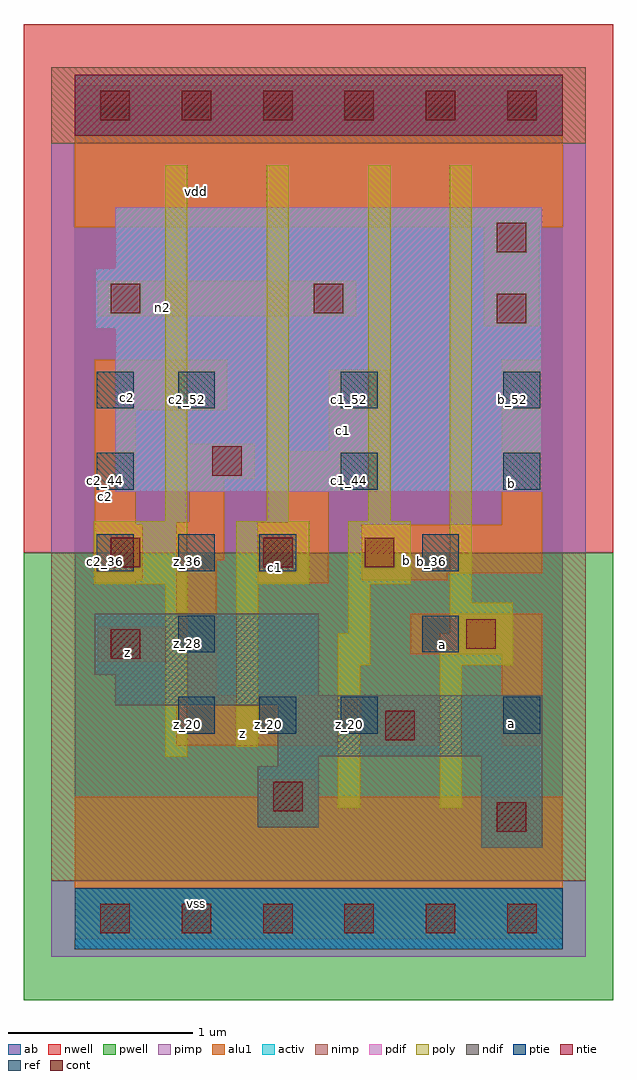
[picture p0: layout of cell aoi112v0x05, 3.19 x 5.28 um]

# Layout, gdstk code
import gdstk
lib = gdstk.Library(unit=1e-6, precision=2.5e-09)
def R(c, l, rs):  # rectangles x0, y0, x1, y1
    for r in rs: c.add(gdstk.rectangle(r[:2], r[2:], *l))
def A(c, l, x, y, w, h, nx, ny, dx, dy):  # array of equal rectangles
    R(c, l, [(x+i*dx, y+j*dy, x+i*dx+w, y+j*dy+h) for i in range(nx) for j in range(ny)])
ndif = (3, 0)
pdif = (4, 0)
ntie = (5, 0)
ptie = (6, 0)
ref = (24, 0)
cont = (25, 0)
pwell = (41, 0)
nwell = (42, 0)
activ = (43, 0)
pimp = (44, 0)
nimp = (45, 0)
poly = (46, 0)
alu1 = (49, 0)
ab = (63, 0)

aoi112v0x05 = lib.new_cell('aoi112v0x05')
R(aoi112v0x05, ndif, [(2.2,0.385,2.53,0.88), (0.99,0.495,1.32,0.825), (1.1,0.825,1.32,0.88), (1.1,0.88,2.53,1.155), (0.22,1.155,2.53,1.21), (0.22,1.21,1.32,1.32), (0.11,1.32,1.32,1.65)])
R(aoi112v0x05, pdif, [(0.22,2.31,2.53,3.19), (0.11,3.19,2.53,3.52), (0.22,3.52,2.53,3.85)])
R(aoi112v0x05, ntie, [(0,4.235,2.64,4.565)])
R(aoi112v0x05, ptie, [(0,-0.165,2.64,0.165)])
A(aoi112v0x05, ref, 0.56, 1, 0.2, 0.2, 3, 1, 0.44, 0)
A(aoi112v0x05, ref, 0.12, 1.88, 0.2, 0.2, 3, 1, 0.44, 0)
A(aoi112v0x05, ref, 0.56, 2.76, 0.2, 0.2, 3, 1, 0.88, 0)
R(aoi112v0x05, ref, [(2.32,1,2.52,1.2), (0.56,1.44,0.76,1.64), (1.88,1.44,2.08,1.64), (1.88,1.88,2.08,2.08), (0.12,2.32,0.32,2.52), (1.44,2.32,1.64,2.52), (2.32,2.32,2.52,2.52), (0.12,2.76,0.32,2.96)])
A(aoi112v0x05, cont, 0.14, -0.08, 0.16, 0.16, 6, 2, 0.44, 4.4)
R(aoi112v0x05, cont, [(2.285,0.47,2.445,0.63), (1.075,0.58,1.235,0.74), (1.68,0.965,1.84,1.125), (0.195,1.405,0.355,1.565), (2.12,1.46,2.28,1.62), (0.195,1.9,0.355,2.06), (1.02,1.9,1.18,2.06), (1.57,1.9,1.73,2.06), (0.745,2.395,0.905,2.555), (2.285,3.22,2.445,3.38), (0.195,3.275,0.355,3.435), (1.295,3.275,1.455,3.435), (2.285,3.605,2.445,3.765)])
R(aoi112v0x05, pwell, [(-0.275,-0.44,2.915,1.98)])
R(aoi112v0x05, nwell, [(-0.275,1.98,2.915,4.84)])
R(aoi112v0x05, activ, [(0,-0.165,2.64,0.165), (2.2,0.385,2.53,0.88), (0.99,0.495,1.32,0.825), (1.1,0.825,1.32,0.88), (1.1,0.88,2.53,1.155), (0.22,1.155,2.53,1.21), (0.22,1.21,1.32,1.32), (0.11,1.32,1.32,1.65), (0.22,2.31,2.53,3.19), (0.11,3.19,2.53,3.52), (0.22,3.52,2.53,3.85), (0,4.235,2.64,4.565)])
R(aoi112v0x05, pimp, [(-0.125,-0.205,2.765,0.205), (-0.125,1.98,2.765,4.195)])
R(aoi112v0x05, nimp, [(-0.125,0.205,2.765,1.98), (-0.125,4.195,2.765,4.605)])
A(aoi112v0x05, poly, 0.49, 2.15, 0.12, 1.925, 3, 1, 0.55, 0)
R(aoi112v0x05, poly, [(1.425,0.6,1.545,1.37), (1.975,0.6,2.095,1.37), (0.49,0.875,0.61,1.81), (0.875,0.93,0.995,1.81), (1.425,1.37,1.6,1.545), (1.975,1.37,2.37,1.545), (1.48,1.545,1.6,1.81), (2.03,1.545,2.37,1.71), (2.03,1.71,2.15,4.075), (0.105,1.81,0.61,2.15), (0.875,1.81,1.27,2.15), (1.48,1.81,1.82,2.15)])
R(aoi112v0x05, alu1, [(0,-0.11,2.64,0.66), (1.005,0.66,1.305,0.755), (0.55,0.935,1.98,1.21), (2.31,0.935,2.53,1.43), (0.55,1.21,0.77,1.39), (0.125,1.39,0.77,1.58), (1.815,1.43,2.53,1.65), (0.55,1.58,0.77,1.94), (0.11,1.815,0.33,1.83), (0.99,1.815,1.375,2.145), (0.11,1.83,0.37,2.13), (1.555,1.83,2.02,1.87), (1.555,1.87,2.53,2.13), (0.55,1.94,0.81,2.145), (0.11,2.13,0.33,2.75), (2.31,2.13,2.53,3.025), (0.62,2.145,0.81,2.38), (1.155,2.145,1.375,2.31), (1.155,2.31,1.705,2.53), (0.62,2.38,0.975,2.57), (1.375,2.53,1.705,2.97), (0.11,2.75,0.825,3.025), (2.215,3.205,2.515,3.74), (0.125,3.26,1.525,3.45), (0,3.74,2.64,4.51)])
R(aoi112v0x05, ab, [(0,0,2.64,4.4)])
aoi112v0x05.add(gdstk.Label('vss', (0.66,0.0825), layer=49, texttype=0))
aoi112v0x05.add(gdstk.Label('a', (2.365,1.0575), layer=49, texttype=0))
aoi112v0x05.add(gdstk.Label('z', (0.9075,1.0025), layer=49, texttype=0))
aoi112v0x05.add(gdstk.Label('a', (1.9925,1.485), layer=49, texttype=0))
aoi112v0x05.add(gdstk.Label('z', (0.285,1.4375), layer=49, texttype=0))
aoi112v0x05.add(gdstk.Label('b', (1.7975,1.935), layer=49, texttype=0))
aoi112v0x05.add(gdstk.Label('b', (2.365,2.3525), layer=49, texttype=0))
aoi112v0x05.add(gdstk.Label('c1', (1.085,1.8975), layer=49, texttype=0))
aoi112v0x05.add(gdstk.Label('c1', (1.4575,2.64), layer=49, texttype=0))
aoi112v0x05.add(gdstk.Label('c2', (0.165,2.285), layer=49, texttype=0))
aoi112v0x05.add(gdstk.Label('c2', (0.2875,2.8175), layer=49, texttype=0))
aoi112v0x05.add(gdstk.Label('n2', (0.475,3.3075), layer=49, texttype=0))
aoi112v0x05.add(gdstk.Label('vdd', (0.66,3.9325), layer=49, texttype=0))
aoi112v0x05.add(gdstk.Label('b_52', (2.37,2.81), layer=24, texttype=0))
aoi112v0x05.add(gdstk.Label('z_20', (1.49,1.05), layer=24, texttype=0))
aoi112v0x05.add(gdstk.Label('c2_52', (0.17,2.81), layer=24, texttype=0))
aoi112v0x05.add(gdstk.Label('c1_44', (1.49,2.37), layer=24, texttype=0))
aoi112v0x05.add(gdstk.Label('b_44', (2.37,2.37), layer=24, texttype=0))
aoi112v0x05.add(gdstk.Label('b_36', (1.93,1.93), layer=24, texttype=0))
aoi112v0x05.add(gdstk.Label('c1_52', (1.49,2.81), layer=24, texttype=0))
aoi112v0x05.add(gdstk.Label('c1_36', (1.05,1.93), layer=24, texttype=0))
aoi112v0x05.add(gdstk.Label('a_20', (2.37,1.05), layer=24, texttype=0))
aoi112v0x05.add(gdstk.Label('a_28', (1.93,1.49), layer=24, texttype=0))
aoi112v0x05.add(gdstk.Label('c2_52', (0.61,2.81), layer=24, texttype=0))
aoi112v0x05.add(gdstk.Label('c2_44', (0.17,2.37), layer=24, texttype=0))
aoi112v0x05.add(gdstk.Label('c2_36', (0.17,1.93), layer=24, texttype=0))
aoi112v0x05.add(gdstk.Label('z_36', (0.61,1.93), layer=24, texttype=0))
aoi112v0x05.add(gdstk.Label('z_28', (0.61,1.49), layer=24, texttype=0))
aoi112v0x05.add(gdstk.Label('z_20', (1.05,1.05), layer=24, texttype=0))
aoi112v0x05.add(gdstk.Label('z_20', (0.61,1.05), layer=24, texttype=0))

lib.write_gds('aoi112v0x05.gds')
